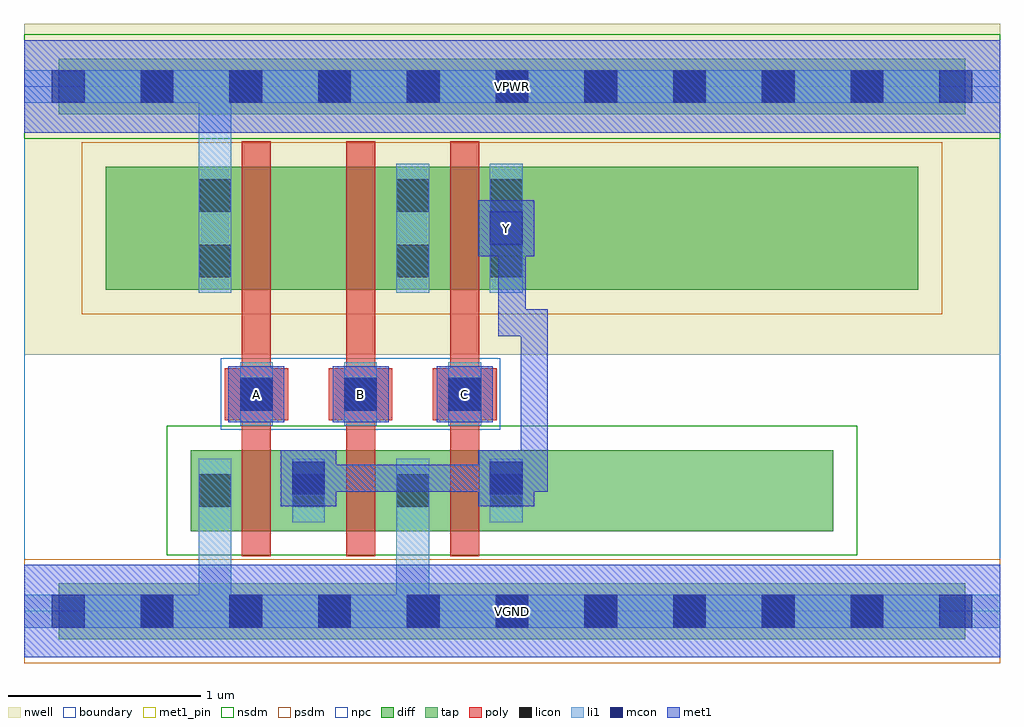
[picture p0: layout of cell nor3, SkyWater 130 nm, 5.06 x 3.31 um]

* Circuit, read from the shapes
.subckt nor3 A B C VGND VPWR Y
XM1 Y A VGND VGND sky130_fd_pr__nfet_01v8 w=0.42 l=0.15
XM2 VGND B Y VGND sky130_fd_pr__nfet_01v8 w=0.42 l=0.15
XM3 Y C VGND VGND sky130_fd_pr__nfet_01v8 w=0.42 l=0.15
XM4 n1 A VPWR VPWR sky130_fd_pr__pfet_01v8 w=0.64 l=0.15
XM5 n2 B n1 VPWR sky130_fd_pr__pfet_01v8 w=0.64 l=0.15
XM6 Y C n2 VPWR sky130_fd_pr__pfet_01v8 w=0.64 l=0.15
.ends

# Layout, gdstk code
import gdstk
lib = gdstk.Library(unit=1e-6, precision=1e-09)
def R(c, l, rs):  # rectangles x0, y0, x1, y1
    for r in rs: c.add(gdstk.rectangle(r[:2], r[2:], *l))
def A(c, l, x, y, w, h, nx, ny, dx, dy):  # array of equal rectangles
    R(c, l, [(x+i*dx, y+j*dy, x+i*dx+w, y+j*dy+h) for i in range(nx) for j in range(ny)])
nwell = (64, 20)
diff = (65, 20)
tap = (65, 44)
poly = (66, 20)
licon = (66, 44)
li1 = (67, 20)
mcon = (67, 44)
met1_pin = (68, 16)
met1 = (68, 20)
nsdm = (93, 44)
psdm = (94, 20)
npc = (95, 20)
boundary = (235, 4)

nor3 = lib.new_cell('nor3')
R(nor3, nwell, [(0,1.33,5.06,3.045)])
R(nor3, diff, [(0.865,0.415,4.195,0.835), (0.425,1.665,4.635,2.305)])
R(nor3, tap, [(0.18,-0.145,4.88,0.145), (0.18,2.575,4.88,2.865)])
A(nor3, poly, 1.13, 0.285, 0.15, 2.15, 3, 1, 0.54, 0)
A(nor3, poly, 1.04, 0.99, 0.33, 0.27, 3, 1, 0.54, 0)
A(nor3, licon, 0.605, -0.085, 0.17, 0.17, 9, 2, 0.46, 2.72)
A(nor3, licon, 1.12, 1.04, 0.17, 0.17, 3, 1, 0.54, 0)
R(nor3, licon, [(0.905,0.54,1.075,0.71), (1.39,0.54,1.56,0.71), (1.93,0.54,2.1,0.71), (2.415,0.54,2.585,0.71), (0.905,1.73,1.075,1.9), (1.93,1.73,2.1,1.9), (2.415,1.73,2.585,1.9), (0.905,2.07,1.075,2.24), (1.93,2.07,2.1,2.24), (2.415,2.07,2.585,2.24)])
A(nor3, li1, 1.12, 0.96, 0.17, 0.33, 3, 1, 0.54, 0)
R(nor3, li1, [(0,-0.085,5.06,0.085), (0.905,-0.085,1.075,0.79), (1.93,-0.085,2.1,0.79), (0.905,0.46,1.075,0.79), (1.39,0.46,1.56,0.79), (1.93,0.46,2.1,0.79), (2.415,0.46,2.585,0.79), (0.905,1.65,1.075,2.32), (0.905,1.65,1.075,2.805), (1.93,1.65,2.1,2.32), (2.415,1.65,2.585,2.32), (0,2.635,5.06,2.805)])
A(nor3, mcon, 0.145, -0.085, 0.17, 0.17, 11, 2, 0.46, 2.72)
A(nor3, mcon, 1.12, 1.04, 0.17, 0.17, 3, 1, 0.54, 0)
R(nor3, mcon, [(1.39,0.605,1.56,0.775), (2.415,0.605,2.585,0.775), (2.415,1.9,2.585,2.07)])
A(nor3, met1_pin, 1.06, 0.98, 0.29, 0.29, 3, 1, 0.54, 0)
R(nor3, met1_pin, [(0,-0.24,5.06,0.24), (2.355,1.84,2.645,2.13), (0,2.48,5.06,2.96)])
A(nor3, met1, 1.06, 0.98, 0.29, 0.29, 3, 1, 0.54, 0)
R(nor3, met1, [(0,-0.24,5.06,0.24), (1.33,0.545,1.62,0.835), (2.355,0.545,2.645,0.835), (1.405,0.62,1.68,0.76), (1.54,0.62,2.715,0.76), (2.43,0.62,2.715,0.76), (2.575,0.62,2.715,1.565), (2.46,1.425,2.6,2.025), (2.46,1.425,2.715,1.565), (2.355,1.84,2.645,2.13), (2.46,1.885,2.6,2.025), (0,2.48,5.06,2.96)])
R(nor3, nsdm, [(0.74,0.29,4.32,0.96), (0,2.45,5.06,2.99)])
R(nor3, psdm, [(0,-0.27,5.06,0.27), (0.3,1.54,4.76,2.43)])
R(nor3, npc, [(1.02,0.94,2.47,1.31)])
R(nor3, boundary, [(0,0,5.06,2.72)])
nor3.add(gdstk.Label('A', (1.205,1.125), layer=68, texttype=5))
nor3.add(gdstk.Label('B', (1.745,1.125), layer=68, texttype=5))
nor3.add(gdstk.Label('C', (2.285,1.125), layer=68, texttype=5))
nor3.add(gdstk.Label('Y', (2.5,1.985), layer=68, texttype=5))
nor3.add(gdstk.Label('VPWR', (2.53,2.72), layer=68, texttype=5))
nor3.add(gdstk.Label('VGND', (2.53,0), layer=68, texttype=5))
nor3.add(gdstk.Label('A', (1.205,1.125), layer=68, texttype=16))
nor3.add(gdstk.Label('B', (1.745,1.125), layer=68, texttype=16))
nor3.add(gdstk.Label('C', (2.285,1.125), layer=68, texttype=16))
nor3.add(gdstk.Label('Y', (2.5,1.985), layer=68, texttype=16))
nor3.add(gdstk.Label('VPWR', (2.53,2.72), layer=68, texttype=16))
nor3.add(gdstk.Label('VGND', (2.53,0), layer=68, texttype=16))

lib.write_gds('nor3.gds')
